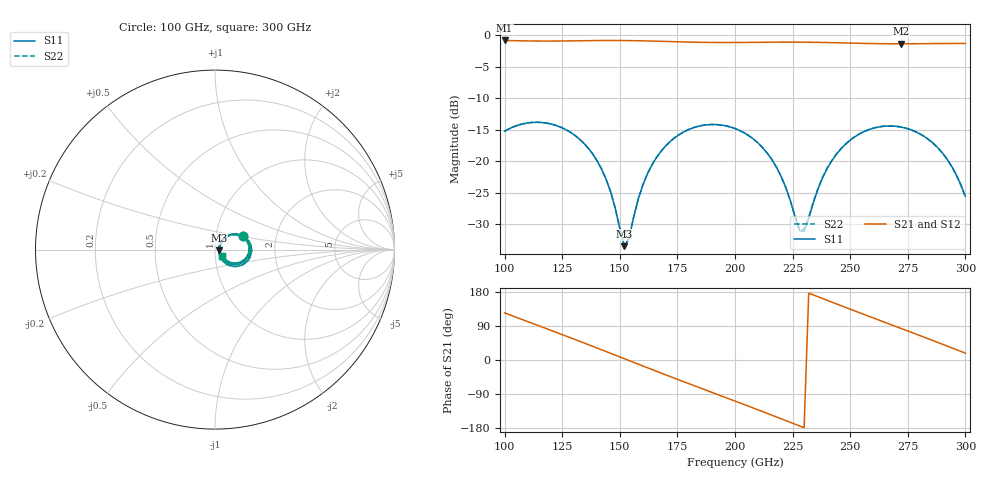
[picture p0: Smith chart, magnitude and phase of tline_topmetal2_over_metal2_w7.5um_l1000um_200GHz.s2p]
#  GHZ S DB R 50
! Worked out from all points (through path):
!   101 points, 100 GHz to 300 GHz, reference 50 ohm
!   highest |S21| = -0.85 dB at 100 GHz (marker M1); lowest = -1.4 dB at 272 GHz (marker M2)
!   group delay of S21, straight-line fit = 6.48 ps
!   lowest |S11| = -33.5 dB at 152 GHz (marker M3), VSWR 1.04, Z = 52.1 - j0.416 ohm
!   |S11| at or under -10 dB: start of sweep to end of sweep
!   |S22| runs from -33.4 to -13.8 dB; largest |S21 - S12| = 1e-13
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100  -15.24 27.0  -0.85 124.4  -0.85 124.4  -15.23 26.7
116  -13.85 -5.7  -0.94 87.7  -0.94 87.7  -13.85 -6.0
134  -17.00 -41.5  -0.89 46.1  -0.89 46.1  -17.00 -41.8
144  -22.80 -55.5  -0.86 22.4  -0.86 22.4  -22.79 -55.7
152  -33.45 -10.8  -0.87 3.4  -0.87 3.4  -33.38 -11.0
154  -32.22 26.7  -0.88 -1.4  -0.88 -1.4  -32.16 26.2
160  -23.76 53.0  -0.92 -15.7  -0.92 -15.7  -23.74 52.5
168  -18.37 44.1  -0.99 -34.6  -0.99 -34.6  -18.36 43.7
184  -14.46 13.8  -1.14 -71.7  -1.14 -71.7  -14.46 13.3
200  -14.81 -17.9  -1.17 -108.4  -1.17 -108.4  -14.81 -18.3
216  -19.73 -45.3  -1.13 -145.6  -1.13 -145.6  -19.73 -45.4
222  -24.12 -47.9  -1.12 -159.8  -1.12 -159.8  -24.11 -47.7
228  -30.95 -15.3  -1.12 -174.0  -1.12 -174.0  -30.72 -14.8
230  -31.14 13.4  -1.13 -178.8  -1.13 -178.8  -30.84 12.9
234  -26.57 45.2  -1.14 171.7  -1.14 171.7  -26.42 43.8
240  -21.16 49.1  -1.18 157.5  -1.18 157.5  -21.09 47.8
248  -17.29 38.4  -1.25 138.8  -1.25 138.8  -17.25 37.2
258  -15.00 20.1  -1.33 115.6  -1.33 115.6  -14.98 18.9
268  -14.41 0.7  -1.38 92.6  -1.38 92.6  -14.40 -0.6
272  -14.57 -7.0  -1.38 83.5  -1.38 83.5  -14.56 -8.4
288  -17.85 -35.6  -1.34 46.4  -1.34 46.4  -17.86 -37.5
300  -25.53 -39.1  -1.32 18.1  -1.32 18.1  -25.73 -42.4
